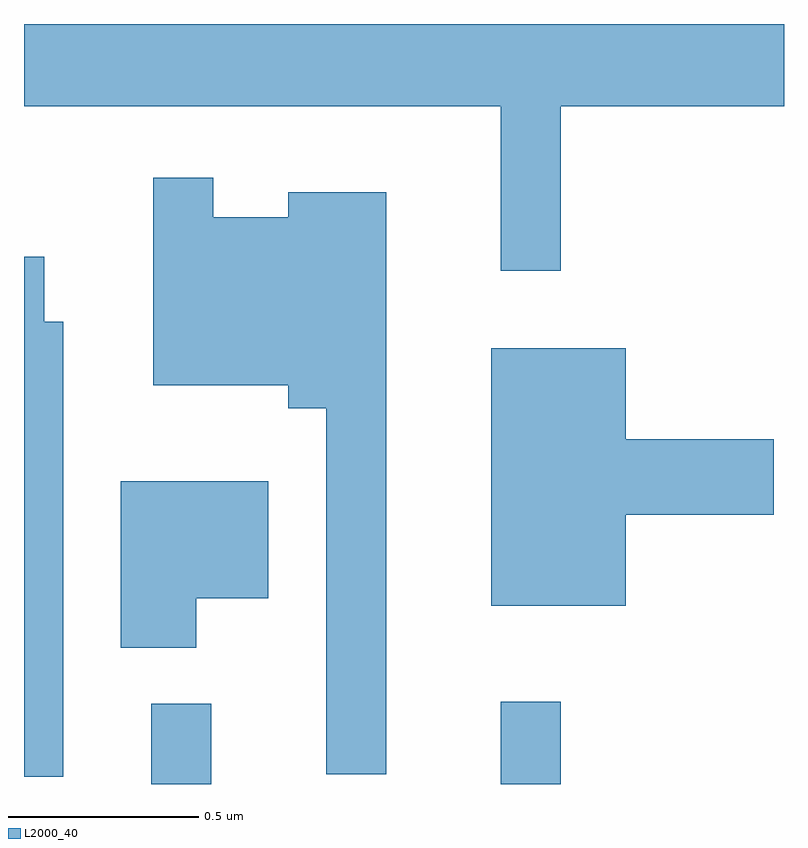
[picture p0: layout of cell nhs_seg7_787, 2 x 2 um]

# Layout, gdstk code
import gdstk
lib = gdstk.Library(unit=1e-6, precision=1e-09)
def R(c, l, rs):  # rectangles x0, y0, x1, y1
    for r in rs: c.add(gdstk.rectangle(r[:2], r[2:], *l))
def P(c, l, *ps):  # polygons
    for p in ps: c.add(gdstk.Polygon(p, *l))
L2000_40 = (2000, 40)

nhs_seg7_787 = lib.new_cell('nhs_seg7_787')
R(nhs_seg7_787, L2000_40, [(190.946,1770.252,191.104,1770.463), (191.866,1770.252,192.024,1770.468)])
P(nhs_seg7_787, L2000_40, [(192.024,1772.036),(192.611,1772.036),(192.611,1772.252),(190.611,1772.252),(190.611,1772.036),(191.866,1772.036),(191.866,1771.603),(192.024,1771.603)],
  [(191.564,1771.809),(191.306,1771.809),(191.306,1771.744),(191.109,1771.744),(191.109,1771.848),(190.951,1771.848),(190.951,1771.301),(191.306,1771.301),(191.306,1771.241),(191.406,1771.241),(191.406,1770.278),(191.564,1770.278)],
  [(190.714,1771.469),(190.664,1771.469),(190.664,1771.639),(190.611,1771.639),(190.611,1770.271),(190.714,1770.271)],
  [(192.194,1770.961),(192.584,1770.961),(192.584,1771.159),(192.194,1771.159),(192.194,1771.399),(191.841,1771.399),(191.841,1770.721),(192.194,1770.721)],
  [(191.064,1770.741),(191.254,1770.741),(191.254,1771.049),(190.866,1771.049),(190.866,1770.611),(191.064,1770.611)])

lib.write_gds('nhs_seg7_787.gds')
